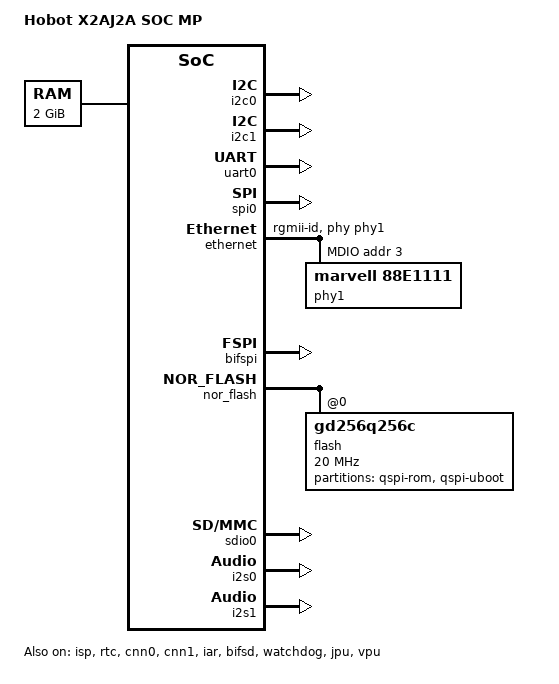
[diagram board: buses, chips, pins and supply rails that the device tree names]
/*
 * dts file for Hobot XJ3 SOC CV testing
 *
 * (C) Copyright 2018, Horizon, Inc.
 *
 *
 * This program is free software; you can redistribute it and/or
 * modify it under the terms of the GNU General Public License as
 * published by the Free Software Foundation; either version 2 of
 * the License, or (at your option) any later version.
 */

/dts-v1/;
#include "hobot-xj3-soc-cv.dtsi"
#include "hobot-pinctrl-xj3-soc-cv.dtsi"
#include "hobot-clk-xj3-soc-cv.dtsi"
#include <dt-bindings/gpio/gpio.h>
#include <dt-bindings/phy/phy.h>

/ {
	model = "Hobot X2AJ2A SOC MP";
	compatible = "hobot,x2a-soc";

	aliases {
		serial0 = &uart0;
		serial1 = &uart1;
		serial2 = &uart2;
		serial3 = &uart3;
		i2c0	= &i2c0;
		i2c1	= &i2c1;
		i2c2	= &i2c2;
		i2c3	= &i2c3;
		i2c4	= &i2c4;
		i2c5	= &i2c5;
		i2s0	= &i2s0;
		i2s1	= &i2s1;
		pwm0	= &pwm_0;
		pwm1	= &pwm_1;
		pwm2	= &pwm_2;
		bifspi	= &bifspi;
		bifsd   = &bifsd;
		mmc0	= &sdio0;
		dma	= &dma;
		dmatest = &dmatest;
	};

	chosen {
		bootargs = "earlycon loglevel=8 console=ttyS0 clk_ignore_unused";
		stdout-path = "serial0:115200n8";
	};

	memory@0 {
		device_type = "memory";
		reg = <0x0 0x0 0x0 0x80000000>;
	};

	reserved-memory {
		#address-cells = <2>;
		#size-cells = <2>;
		ranges;

		/*Reserved 1M memory for bifbase*/
		bifbase_reserved: bifbase_reserved@0x02000000 {
			reg = <0x0 0x02000000 0x0 0x00100000>;
			no-map;
		};

		bifsd_reserved: bifsd_reserved@0x3D089000 {
			reg = <0x0 0x3D089000 0x0 0x1000>;
			no-map;
		};
		iar_reserved: iar_reserved@0x3D08A000 {
			reg = <0x0 0x3D08A000 0x0 0x2F46000>;
			no-map;
		};

		/* Reserved 192K memory for function call */
		fc_reserved: fc_reserved@0x3FDD0000 {
			reg = <0x0 0x3FDD0000 0x0 0x00030000>;
		};

		/*Reserved 2MB memory for BL31*/
		bl31_reserved: bl31_reserved@0x3FE00000 {
			reg = <0x0 0x3FE00000 0x0 0x200000>;
			no-map;
		};

		/* Reserved 512MB memory for cnn subsystem */
		ion_reserved: ion_reserved@0x40000000 {
			compatible = "ion-pool";
			reg = <0x0 0x40000000 0x0 0x20000000>;
		};

		/* Reserved 512MB memory for ipu subsystem */
		ipu_reserved: ipu_reserved@0x60000000 {
			reg = <0x0 0x60000000 0x0 0x20000000>;
			/*no-map;*/
		};

	};
/*
	cnn_mm {
		compatible = "hobot,cnn-mm";
		#address-cells = <1>;
		#size-cells = <0>;

		memory-region = <&cnn_reserved>;

		cnn_heap@0 {
			reg = <0>;
			label = "cnn0_model_mm";
			type = <1>;
		};

		cnn_heap@1 {
			reg = <1>;
			label = "cnn1_model_mm";
			type = <1>;
		};

		cnn_heap@2 {
			reg = <2>;
			label = "cnn_rt_mm";
			type = <1>;
		};

		cnn_heap@3 {
			reg = <3>;
			label = "cnn_result_mm";
			type = <1>;
		};
	};
*/
};

&i2c0 {
	status = "okay";
};
&i2c1 {
	status = "okay";
};


&pinctrl {
	status = "okay";
	gpioirq-bank-cfg = <85 0 0 0>;
};

&uart0 {
	status = "okay";
	clocks = <&uart0_mclk>;
	clock-names = "uart_mclk";
};
/*
&ips {
	status = "okay";
};
*/
&isp {
	status = "okay";
};
/*
&ipu {
	status = "okay";
};

&sif {
	status = "okay";
};

&mipi_host {
	status = "okay";
};

&mipi_dev {
	status = "okay";
};
*/
&dma {
	status = "okay";
};

&dmatest {
	status = "disable";
};

&rtc {
	status = "okay";
};

&pwm_0 {
	status = "disabled";
};

&spi0 {
	status = "okay";
};

&ethernet {
	status = "okay";

	/* local-mac-address = [ 00 11 22 33 44 55 ]; */
	phy-handle = <&phy1>;
	phy-mode = "rgmii-id";
	mdio {
		#address-cells = <0x1>;
		#size-cells = <0x0>;
		phy1: phy@3 {
			compatible = "marvell,88E1111","ethernet-phy-ieee802.3-c22";
			reg = <0x3>;
		};
	};
};

&cnn0 {
	status = "okay";
};

&cnn1 {
	status = "okay";
};

&iar {
        status = "okay";
};

&bifspi {
	status = "okay";
};

&bifsd {
	status = "okay";
	/*cd-gpio = <77>;*/
};

&bifbase {
	bifbase_irq_pin = <85>;
	bifbase_tri_pin = <84>;
};

&nor_flash {
	status = "okay";
	#address-cells = <1>;
	#size-cells = <0>;

	flash@0 {
		compatible = "gd256q256c";
		#address-cells = <1>;
		#size-cells = <1>;
		reg = <0x0>;
		spi-tx-bus-width = <4>;
		spi-rx-bus-width = <4>;
		spi-max-frequency = <20000000>; /* For FPGA max clk is 20Mhz */

		partition@qspi-rom {
			label = "qspi-rom";
			reg = <0x000000 0x200000>;
		};

		partition@qspi-uboot {
			label = "qspi-uboot";
			reg = <0x200000 0x200000>;
		};
	};
};

&sdio0 {
	status = "okay";
};

&sdio1 {
	status = "disabled";
};

&watchdog {
	status = "okay";
};

&i2s0 {
	status = "okay";
	clocks = <&i2s0_mclk>, <&i2s0_bclk>;
	clock-names = "i2s_mclk", "i2s_bclk";
};

&i2s1 {
	status = "okay";
	clocks = <&i2s1_mclk>, <&i2s1_bclk>;
	clock-names = "i2s_mclk", "i2s_bclk";
};

&jpu {
	status = "okay";
};

&vpu {
	status = "okay";
};

&timer0 {
	timer-freq = <20000000>;
};

&timer1 {
	timer-freq = <20000000>;
};

&timer2 {
	timer-freq = <20000000>;
};

&arch_timer {
	clock-frequency = <20000000>;
};
